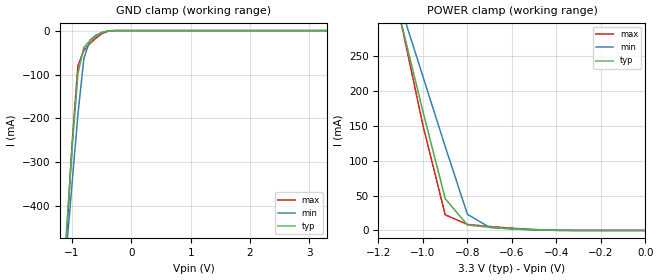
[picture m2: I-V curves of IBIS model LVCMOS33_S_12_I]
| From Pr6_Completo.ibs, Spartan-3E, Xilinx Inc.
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|   Model LVCMOS33_S_12_I
[Model]   LVCMOS33_S_12_I
Model_type   Input
Polarity   Non-Inverting
Vinl =   0.80V
Vinh =   2.00V
C_comp   1.50pF   1.30pF   1.70pF
[Temperature Range]   25.00   85.00   0.000
[Voltage Range]   3.30V   3.00V   3.60V
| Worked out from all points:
|   GND clamp passes 1 mA (typ) near -0.40 V on its own axis
|   POWER clamp passes 1 mA (typ) near -0.50 V on its own axis
[GND_clamp]
| voltage   I(typ)   I(min)   I(max)
-3.3V     -4.75A     -4.04A     -5.65A
-1.1V     -470mA     -510mA     -490mA
-1V       -270mA     -350mA     -260mA
-900mV    -97.22mA   -190mA     -79.28mA
-800mV    -38.27mA   -63.6mA    -44.92mA
-700mV    -23.78mA   -21.82mA   -30.15mA
-600mV    -13.05mA   -10.93mA   -17.48mA
-500mV    -5.01mA    -4.37mA    -7.42mA
-400mV    -940uA     -990uA     -1.6mA
-300mV    -78.45uA   -120uA     -130uA
3.3V      17.84nA    24.91uA    18.28nA
[POWER_clamp]
| voltage   I(typ)   I(min)   I(max)
-3.3V     3.14A      2.52A      3.53A
-1.1V     300mA      320mA      300mA
-1V       170mA      220mA      150mA
-900mV    45.39mA    120mA      22.39mA
-800mV    7.78mA     23.01mA    8.63mA
-700mV    4.56mA     4.41mA     5.65mA
-600mV    2.55mA     2.06mA     3.26mA
-400mV    200uA      200uA      300uA
0V        17.84nA    86.83nA    23.01nA
